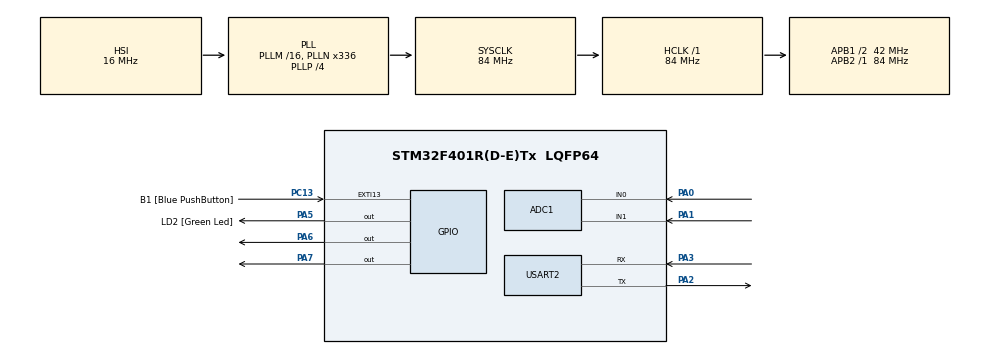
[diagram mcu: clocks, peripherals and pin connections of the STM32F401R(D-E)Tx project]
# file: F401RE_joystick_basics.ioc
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ADC1.Channel-5\#ChannelRegularConversion=ADC_CHANNEL_0
ADC1.Channel-7\#ChannelRegularConversion=ADC_CHANNEL_1
ADC1.ContinuousConvMode=ENABLE
ADC1.DMAContinuousRequests=ENABLE
ADC1.NbrOfConversion=2
ADC1.NbrOfConversionFlag=1
ADC1.Rank-5\#ChannelRegularConversion=1
ADC1.Rank-7\#ChannelRegularConversion=2
ADC1.SamplingTime-5\#ChannelRegularConversion=ADC_SAMPLETIME_84CYCLES
ADC1.SamplingTime-7\#ChannelRegularConversion=ADC_SAMPLETIME_84CYCLES
ADC1.ScanConvMode=ENABLE
ADC1.master=1
Dma.ADC1.0.Direction=DMA_PERIPH_TO_MEMORY
Dma.ADC1.0.FIFOMode=DMA_FIFOMODE_DISABLE
Dma.ADC1.0.Instance=DMA2_Stream0
Dma.ADC1.0.MemDataAlignment=DMA_MDATAALIGN_WORD
Dma.ADC1.0.MemInc=DMA_MINC_ENABLE
Dma.ADC1.0.Mode=DMA_CIRCULAR
Dma.ADC1.0.PeriphDataAlignment=DMA_PDATAALIGN_WORD
Dma.ADC1.0.PeriphInc=DMA_PINC_DISABLE
Dma.ADC1.0.Priority=DMA_PRIORITY_LOW
Dma.Request0=ADC1
Mcu.Family=STM32F4
Mcu.Name=STM32F401R(D-E)Tx
Mcu.Package=LQFP64
NVIC.DMA2_Stream0_IRQn=true\:0\:0\:false\:false\:true\:false\:true\:true
NVIC.PriorityGroup=NVIC_PRIORITYGROUP_0
PA0-WKUP.Signal=ADCx_IN0
PA1.Signal=ADCx_IN1
PA13.GPIO_Label=TMS
PA13.Mode=Serial_Wire
PA13.Signal=SYS_JTMS-SWDIO
PA14.GPIO_Label=TCK
PA14.Mode=Serial_Wire
PA14.Signal=SYS_JTCK-SWCLK
PA2.Mode=Asynchronous
PA2.Signal=USART2_TX
PA3.Mode=Asynchronous
PA3.Signal=USART2_RX
PA5.GPIO_Label=LD2 [Green Led]
PA5.GPIO_Mode=GPIO_MODE_OUTPUT_PP
PA5.GPIO_PuPd=GPIO_NOPULL
PA5.GPIO_Speed=GPIO_SPEED_FREQ_LOW
PA5.Signal=GPIO_Output
PA6.Signal=GPIO_Output
PA7.Signal=GPIO_Output
PC13-ANTI_TAMP.GPIO_Label=B1 [Blue PushButton]
PC13-ANTI_TAMP.GPIO_ModeDefaultEXTI=GPIO_MODE_IT_FALLING
PC13-ANTI_TAMP.GPIO_PuPd=GPIO_NOPULL
PC13-ANTI_TAMP.Signal=GPXTI13
PC14-OSC32_IN.Mode=LSE-External-Oscillator
PC14-OSC32_IN.Signal=RCC_OSC32_IN
PC15-OSC32_OUT.Mode=LSE-External-Oscillator
PC15-OSC32_OUT.Signal=RCC_OSC32_OUT
PH0\ -\ OSC_IN.Mode=HSE-External-Oscillator
PH0\ -\ OSC_IN.Signal=RCC_OSC_IN
PH1\ -\ OSC_OUT.Mode=HSE-External-Oscillator
PH1\ -\ OSC_OUT.Signal=RCC_OSC_OUT
ProjectManager.HeapSize=0x200
ProjectManager.StackSize=0x400
ProjectManager.TargetToolchain=STM32CubeIDE
RCC.48MHZClocksFreq_Value=48000000
RCC.AHBFreq_Value=84000000
RCC.APB1CLKDivider=RCC_HCLK_DIV2
RCC.APB1Freq_Value=42000000
RCC.APB1TimFreq_Value=84000000
RCC.APB2Freq_Value=84000000
RCC.APB2TimFreq_Value=84000000
RCC.CortexFreq_Value=84000000
RCC.HCLKFreq_Value=84000000
RCC.HSE_VALUE=8000000
RCC.HSI_VALUE=16000000
RCC.PLLN=336
RCC.PLLP=RCC_PLLP_DIV4
RCC.PLLQ=7
RCC.SYSCLKFreq_VALUE=84000000
RCC.SYSCLKSource=RCC_SYSCLKSOURCE_PLLCLK
RCC.VCOOutputFreq_Value=336000000
SH.ADCx_IN0.0=ADC1_IN0,IN0
SH.ADCx_IN1.0=ADC1_IN1,IN1
USART2.VirtualMode=VM_ASYNC
board=NUCLEO-F401RE

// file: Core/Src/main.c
/* USER CODE BEGIN Header */
/**
  ******************************************************************************
  * @file           : main.c
  * @brief          : Main program body
  ******************************************************************************
  * @attention
  *
  * Copyright (c) 2023 STMicroelectronics.
  * All rights reserved.
  *
  * This software is licensed under terms that can be found in the LICENSE file
  * in the root directory of this software component.
  * If no LICENSE file comes with this software, it is provided AS-IS.
  *
  ******************************************************************************
  */
/* USER CODE END Header */
#include "main.h"
#include "adc.h"
#include "dma.h"
#include "usart.h"
#include "gpio.h"

/* USER CODE BEGIN Includes */
#include "Led.h"
/* USER CODE END Includes */

void SystemClock_Config(void);

/* USER CODE BEGIN 0 */
int __io_putchar(int ch){
	HAL_UART_Transmit(&huart2, (uint8_t *)&ch, 1, 0xFFFF);
	return ch;
}
/* USER CODE END 0 */

int main(void)
{

  /* MCU Configuration--------------------------------------------------------*/

  /* Reset of all peripherals, Initializes the Flash interface and the Systick. */
  HAL_Init();

  /* Configure the system clock */
  SystemClock_Config();

  /* Initialize all configured peripherals */
  MX_GPIO_Init();
  MX_DMA_Init();
  MX_USART2_UART_Init();
  MX_ADC1_Init();
  /* USER CODE BEGIN 2 */
  uint32_t Adc[2];
  HAL_ADC_Start_DMA(&hadc1, (uint32_t *)Adc, 2);
  const char *ch[] = {"right\n\r", "left\n\r", "up\n\r", "down\n\r"};
  /* USER CODE END 2 */

  /* Infinite loop */
  /* USER CODE BEGIN WHILE */
  while (1)
  {
//	  LED_Control(Adc[0]);
//	  LED_Control2(Adc[1]);
	  if(Adc[0] <= 500){
		  HAL_UART_Transmit(&huart2, (uint8_t *)ch[0], strlen(ch[0]), 1000);
		  HAL_GPIO_WritePin(GPIOA, GPIO_PIN_6, GPIO_PIN_SET);
//		  printf("X = %ld\r\n", Adc[0]);
		  HAL_Delay(1000);
	  }
	  else if(Adc[0] >= 4000){
		  HAL_UART_Transmit(&huart2, (uint8_t *)ch[1], strlen(ch[1]), 1000);
		  HAL_GPIO_WritePin(GPIOA, GPIO_PIN_6, GPIO_PIN_RESET);
//		  printf("X = %ld\r\n", Adc[0]);
		  HAL_Delay(1000);
	  }
	  else if(Adc[1] >= 4000){
		  HAL_UART_Transmit(&huart2, (uint8_t *)ch[2], strlen(ch[2]), 1000);
		  HAL_GPIO_WritePin(GPIOA, GPIO_PIN_7, GPIO_PIN_SET);
//		  printf("Y = %ld\r\n", Adc[1]);
		  HAL_Delay(1000);
	  }
	  else if(Adc[1] <= 500){
		  HAL_UART_Transmit(&huart2, (uint8_t *)ch[3], strlen(ch[3]), 1000);
		  HAL_GPIO_WritePin(GPIOA, GPIO_PIN_7, GPIO_PIN_RESET);
//		  printf("Y = %ld\r\n", Adc[1]);
		  HAL_Delay(1000);
	  }
//	  else{
//		  printf("X Value = %ld, Y Value = %ld\r\n", Adc[0], Adc[1]);
//		  HAL_Delay(1000);
//	  }
    /* USER CODE END WHILE */

  }
}

void SystemClock_Config(void)
{
  RCC_OscInitTypeDef RCC_OscInitStruct = {0};
  RCC_ClkInitTypeDef RCC_ClkInitStruct = {0};

  /** Configure the main internal regulator output voltage
  */
  __HAL_RCC_PWR_CLK_ENABLE();
  __HAL_PWR_VOLTAGESCALING_CONFIG(PWR_REGULATOR_VOLTAGE_SCALE2);

  /** Initializes the RCC Oscillators according to the specified parameters
  * in the RCC_OscInitTypeDef structure.
  */
  RCC_OscInitStruct.OscillatorType = RCC_OSCILLATORTYPE_HSI;
  RCC_OscInitStruct.HSIState = RCC_HSI_ON;
  RCC_OscInitStruct.HSICalibrationValue = RCC_HSICALIBRATION_DEFAULT;
  RCC_OscInitStruct.PLL.PLLState = RCC_PLL_ON;
  RCC_OscInitStruct.PLL.PLLSource = RCC_PLLSOURCE_HSI;
  RCC_OscInitStruct.PLL.PLLM = 16;
  RCC_OscInitStruct.PLL.PLLN = 336;
  RCC_OscInitStruct.PLL.PLLP = RCC_PLLP_DIV4;
  RCC_OscInitStruct.PLL.PLLQ = 7;
  if (HAL_RCC_OscConfig(&RCC_OscInitStruct) != HAL_OK)
  {
    Error_Handler();
  }

  /** Initializes the CPU, AHB and APB buses clocks
  */
  RCC_ClkInitStruct.ClockType = RCC_CLOCKTYPE_HCLK|RCC_CLOCKTYPE_SYSCLK
                              |RCC_CLOCKTYPE_PCLK1|RCC_CLOCKTYPE_PCLK2;
  RCC_ClkInitStruct.SYSCLKSource = RCC_SYSCLKSOURCE_PLLCLK;
  RCC_ClkInitStruct.AHBCLKDivider = RCC_SYSCLK_DIV1;
  RCC_ClkInitStruct.APB1CLKDivider = RCC_HCLK_DIV2;
  RCC_ClkInitStruct.APB2CLKDivider = RCC_HCLK_DIV1;

  if (HAL_RCC_ClockConfig(&RCC_ClkInitStruct, FLASH_LATENCY_2) != HAL_OK)
  {
    Error_Handler();
  }
}

void Error_Handler(void)
{
  __disable_irq();
  while (1)
  {
  }
}
